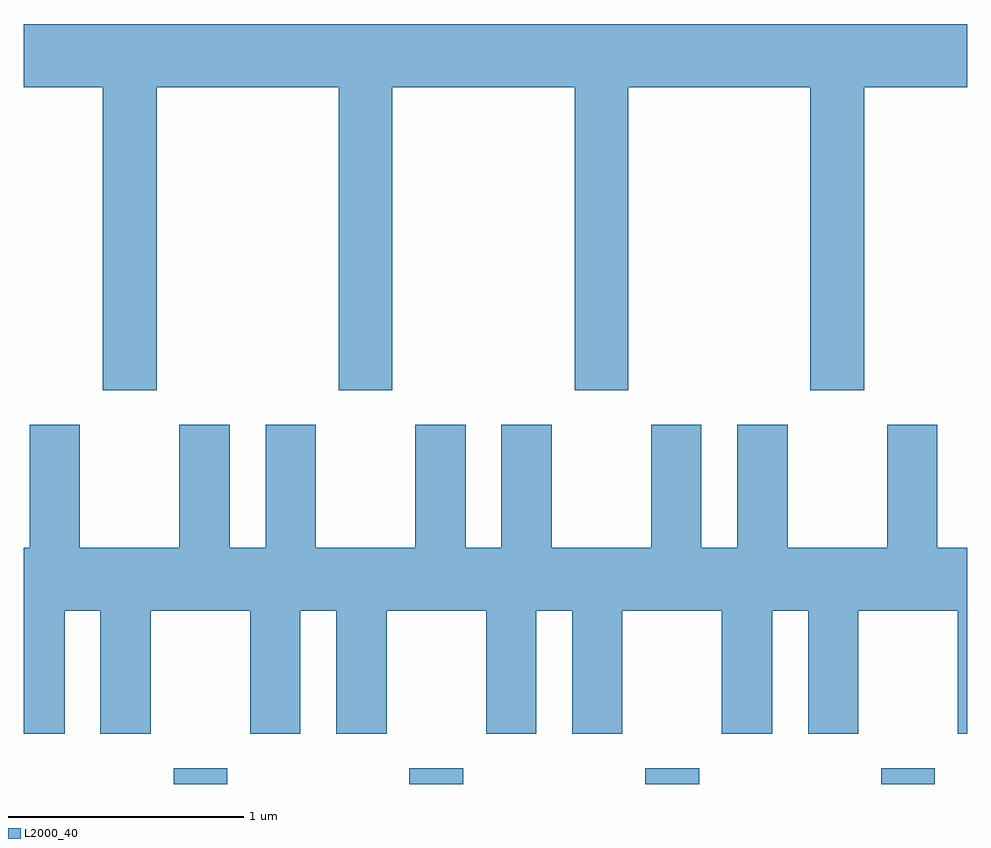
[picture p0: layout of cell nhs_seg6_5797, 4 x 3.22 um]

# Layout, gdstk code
import gdstk
lib = gdstk.Library(unit=1e-6, precision=1e-09)
def R(c, l, rs):  # rectangles x0, y0, x1, y1
    for r in rs: c.add(gdstk.rectangle(r[:2], r[2:], *l))
def A(c, l, x, y, w, h, nx, ny, dx, dy):  # array of equal rectangles
    R(c, l, [(x+i*dx, y+j*dy, x+i*dx+w, y+j*dy+h) for i in range(nx) for j in range(ny)])
def P(c, l, *ps):  # polygons
    for p in ps: c.add(gdstk.Polygon(p, *l))
L2000_40 = (2000, 40)

nhs_seg6_5797 = lib.new_cell('nhs_seg6_5797')
A(nhs_seg6_5797, L2000_40, 362.246, 1578.162, 0.228, 0.067, 4, 1, 1, 0)
P(nhs_seg6_5797, L2000_40, [(362.174,1581.116),(362.946,1581.116),(362.946,1579.831),(363.174,1579.831),(363.174,1581.116),(363.946,1581.116),(363.946,1579.831),(364.174,1579.831),(364.174,1581.116),(364.946,1581.116),(364.946,1579.831),(365.174,1579.831),(365.174,1581.116),(365.611,1581.116),(365.611,1581.384),(361.611,1581.384),(361.611,1581.116),(361.946,1581.116),(361.946,1579.831),(362.174,1579.831)],
  [(361.849,1579.684),(361.636,1579.684),(361.636,1579.164),(361.611,1579.164),(361.611,1578.376),(361.784,1578.376),(361.784,1578.896),(361.936,1578.896),(361.936,1578.376),(362.149,1578.376),(362.149,1578.896),(362.571,1578.896),(362.571,1578.376),(362.784,1578.376),(362.784,1578.896),(362.936,1578.896),(362.936,1578.376),(363.149,1578.376),(363.149,1578.896),(363.571,1578.896),(363.571,1578.376),(363.784,1578.376),(363.784,1578.896),(363.936,1578.896),(363.936,1578.376),(364.149,1578.376),(364.149,1578.896),(364.571,1578.896),(364.571,1578.376),(364.784,1578.376),(364.784,1578.896),(364.936,1578.896),(364.936,1578.376),(365.149,1578.376),(365.149,1578.896),(365.571,1578.896),(365.571,1578.376),(365.611,1578.376),(365.611,1579.164),(365.484,1579.164),(365.484,1579.684),(365.271,1579.684),(365.271,1579.164),(364.849,1579.164),(364.849,1579.684),(364.636,1579.684),(364.636,1579.164),(364.484,1579.164),(364.484,1579.684),(364.271,1579.684),(364.271,1579.164),(363.849,1579.164),(363.849,1579.684),(363.636,1579.684),(363.636,1579.164),(363.484,1579.164),(363.484,1579.684),(363.271,1579.684),(363.271,1579.164),(362.849,1579.164),(362.849,1579.684),(362.636,1579.684),(362.636,1579.164),(362.484,1579.164),(362.484,1579.684),(362.271,1579.684),(362.271,1579.164),(361.849,1579.164)])

lib.write_gds('nhs_seg6_5797.gds')
